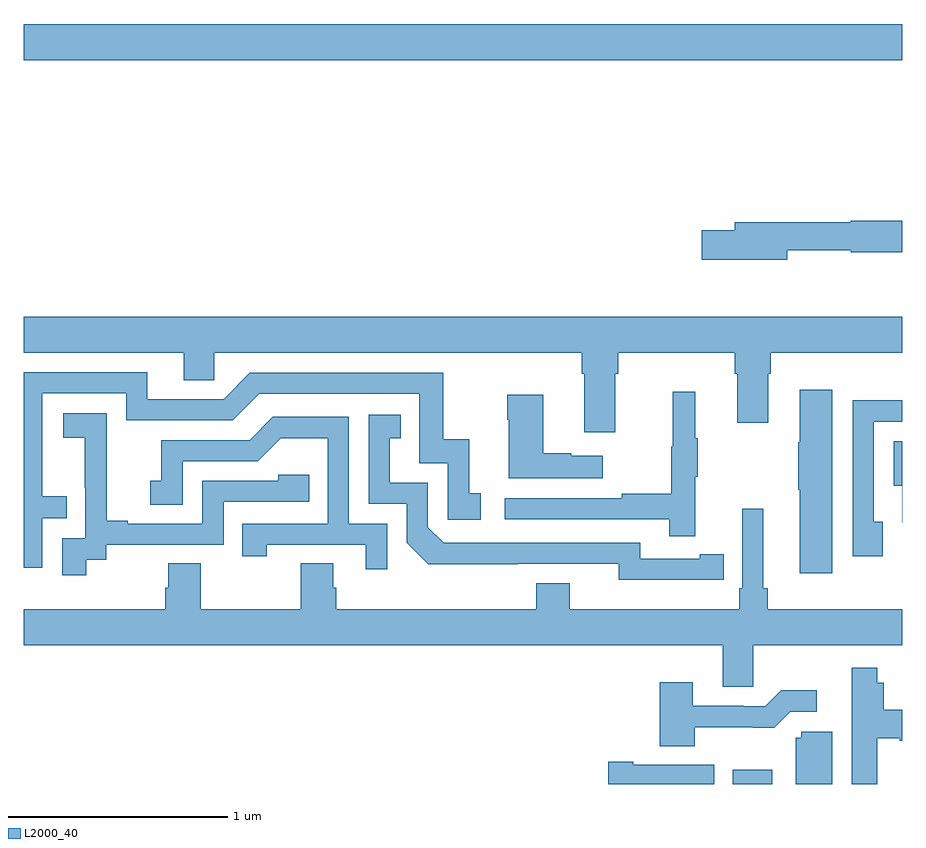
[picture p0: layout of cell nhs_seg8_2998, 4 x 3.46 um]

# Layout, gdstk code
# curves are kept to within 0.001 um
import gdstk
lib = gdstk.Library(unit=1e-6, precision=1e-09)
def R(c, l, rs):  # rectangles x0, y0, x1, y1
    for r in rs: c.add(gdstk.rectangle(r[:2], r[2:], *l))
def P(c, l, *ps):  # polygons
    for p in ps: c.add(gdstk.Polygon(p, *l))
L2000_40 = (2000, 40)

nhs_seg8_2998 = lib.new_cell('nhs_seg8_2998')
R(nhs_seg8_2998, L2000_40, [(302.229,1083.9,302.407,1083.964), (299,1087.196,303,1087.36)])
P(nhs_seg8_2998, L2000_40, [(302.476,1086.33),(302.766,1086.33),(302.766,1086.322),(303,1086.322),(303,1086.464),(302.766,1086.464),(302.766,1086.458),(302.237,1086.458),(302.237,1086.422),(302.088,1086.422),(302.088,1086.287),(302.476,1086.287)],
  [(299,1085.864),(299.729,1085.864),(299.729,1085.737),(299.868,1085.737),(299.868,1085.864),(301.541,1085.864),(301.541,1085.768),(301.553,1085.768),(301.553,1085.502),(301.693,1085.502),(301.693,1085.768),(301.706,1085.768),(301.706,1085.864),(302.237,1085.864),(302.237,1085.768),(302.249,1085.768),(302.249,1085.544),(302.389,1085.544),(302.389,1085.768),(302.402,1085.768),(302.402,1085.864),(303,1085.864),(303,1086.028),(299,1086.028)],
  [(299.085,1085.109),(299.195,1085.109),(299.195,1085.21),(299.085,1085.21),(299.085,1085.679),(299.466,1085.679),(299.466,1085.556),(299.952,1085.556),(300.072,1085.676),(300.801,1085.676),(300.801,1085.361),(300.93,1085.361),(300.93,1085.103),(301.081,1085.103),(301.081,1085.223),(301.028,1085.223),(301.028,1085.47),(300.91,1085.47),(300.91,1085.772),(300.03,1085.772),(299.91,1085.652),(299.563,1085.652),(299.563,1085.775),(299,1085.775),(299,1084.884),(299.085,1084.884)],
  [(302.68,1085.695),(302.534,1085.695),(302.534,1085.456),(302.527,1085.456),(302.527,1085.239),(302.534,1085.239),(302.534,1084.86),(302.68,1084.86)],
  [(302.057,1085.299),(302.068,1085.299),(302.068,1085.473),(302.057,1085.473),(302.057,1085.686),(301.954,1085.686),(301.954,1085.436),(301.947,1085.436),(301.947,1085.222),(301.723,1085.222),(301.723,1085.202),(301.191,1085.202),(301.191,1085.106),(301.939,1085.106),(301.939,1085.028),(302.057,1085.028)],
  [(301.636,1085.395),(301.493,1085.395),(301.493,1085.405),(301.366,1085.405),(301.366,1085.671),(301.201,1085.671),(301.201,1085.558),(301.208,1085.558),(301.208,1085.291),(301.636,1085.291)],
  [(302.911,1085.094),(302.871,1085.094),(302.871,1085.55),(303,1085.55),(303,1085.648),(302.775,1085.648),(302.775,1084.938),(302.911,1084.938)],
  [(299.284,1084.921),(299.376,1084.921),(299.376,1084.989),(299.91,1084.989),(299.91,1085.184),(300.299,1085.184),(300.299,1085.307),(300.159,1085.307),(300.159,1085.28),(299.814,1085.28),(299.814,1085.085),(299.473,1085.085),(299.473,1085.098),(299.378,1085.098),(299.378,1085.381),(299.379,1085.381),(299.379,1085.587),(299.181,1085.587),(299.181,1085.477),(299.279,1085.477),(299.279,1085.249),(299.28,1085.249),(299.28,1085.019),(299.175,1085.019),(299.175,1084.851),(299.284,1084.851)],
  [(302.078,1084.83),(302.186,1084.83),(302.186,1084.946),(302.078,1084.946),(302.078,1084.926),(301.806,1084.926),(301.806,1084.998),(300.912,1084.998),(300.84,1085.07),(300.84,1085.271),(300.667,1085.271),(300.667,1085.475),(300.716,1085.475),(300.716,1085.581),(300.57,1085.581),(300.57,1085.175),(300.744,1085.175),(300.744,1084.998),(300.842,1084.901),(301.71,1084.902),(301.71,1084.829)],
  [(300.654,1085.085),(300.48,1085.085),(300.48,1085.571),(300.134,1085.571),(300.029,1085.466),(299.626,1085.466),(299.626,1085.281),(299.577,1085.281),(299.577,1085.172),(299.724,1085.172),(299.724,1085.37),(300.066,1085.37),(300.17,1085.474),(300.384,1085.474),(300.384,1085.085),(299.995,1085.085),(299.995,1084.938),(300.106,1084.938),(300.106,1084.989),(300.557,1084.989),(300.557,1084.878),(300.654,1084.878)],
  [(303,1085.461),(302.96,1085.461),(302.96,1085.258),(302.999,1085.258),(302.999,1085.09),(303,1085.09)],
  [(302.322,1084.532),(303,1084.532),(303,1084.696),(302.387,1084.696),(302.387,1084.792),(302.368,1084.792),(302.368,1085.152),(302.271,1085.152),(302.271,1084.792),(302.258,1084.792),(302.258,1084.696),(301.486,1084.696),(301.486,1084.813),(301.334,1084.813),(301.334,1084.696),(300.422,1084.696),(300.422,1084.794),(300.409,1084.794),(300.409,1084.904),(300.262,1084.904),(300.262,1084.696),(299.805,1084.696),(299.805,1084.904),(299.657,1084.904),(299.657,1084.794),(299.645,1084.794),(299.645,1084.696),(299,1084.696),(299,1084.532),(302.183,1084.532),(302.183,1084.342),(302.322,1084.342)],
  [(302.885,1084.109),(302.988,1084.109),(302.988,1084.097),(303,1084.097),(303,1084.239),(302.915,1084.239),(302.915,1084.36),(302.885,1084.36),(302.885,1084.429),(302.769,1084.429),(302.769,1083.9),(302.885,1083.9)],
  [(302.055,1084.158),(302.417,1084.157),(302.49,1084.23),(302.611,1084.23),(302.611,1084.327),(302.449,1084.327),(302.376,1084.254),(302.276,1084.254),(302.276,1084.257),(302.047,1084.257),(302.047,1084.363),(301.895,1084.363),(301.895,1084.073),(302.055,1084.073)],
  [(302.68,1084.137),(302.541,1084.137),(302.541,1084.11),(302.516,1084.11),(302.516,1083.9),(302.68,1083.9)],
  [(302.144,1083.988),(301.774,1083.988),(301.774,1084.001),(301.662,1084.001),(301.662,1083.9),(302.144,1083.9)])

lib.write_gds('nhs_seg8_2998.gds')
